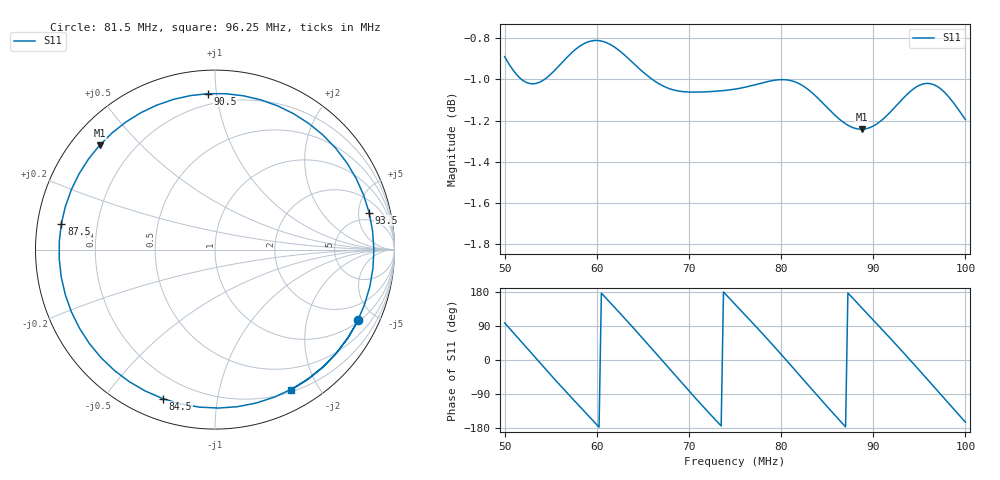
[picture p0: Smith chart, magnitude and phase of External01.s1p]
!Agilent Technologies,E5072A,MY51200456,A.01.06
!Date: Tue Sep 01 19:49:04 2015
!Data & Calibration Information:
!Freq	S11:SOLT1(ON)
!PortZ  Port1:50+j0
!Above PortZ is port z conversion or system Z0 setting when saving the data.
!When reading, reference impedance value at option line is always used.
# Hz S dB R 50
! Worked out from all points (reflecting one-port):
!   201 points, 50 MHz to 100 MHz, reference 50 ohm
!   lowest |S11| = -1.2 dB at 88.75 MHz (marker M1), VSWR 14.01, Z = 4.1 + j19.2 ohm
!   phase of S11 starts at 98 deg and turns -1342 deg over the sweep
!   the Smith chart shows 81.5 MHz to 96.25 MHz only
!   S11 on the Smith chart (normalised r, x): 81.5 MHz: 1.06, -4.03; 84.5 MHz: 0.10, -0.70; 87.5 MHz: 0.07, +0.08; 90.5 MHz: 0.13, +0.95; 93.5 MHz: 3.54, +6.61; 96.25 MHz: 0.22, -1.66
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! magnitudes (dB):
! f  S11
! 50 MHz  -0.9
! 51.5 MHz  -1.0
! 53 MHz  -1.0
! 54.5 MHz  -1.0
! 56.25 MHz  -0.9
! 58 MHz  -0.8
! 59.5 MHz  -0.8
! 61 MHz  -0.8
! 62.5 MHz  -0.9
! 66.25 MHz  -1.0
! 68.75 MHz  -1.1
! 71.25 MHz  -1.1
! 75 MHz  -1.0
! 79.25 MHz  -1.0
! 81.25 MHz  -1.0
! 81.5 MHz  -1.0
! 83 MHz  -1.1
! 84.5 MHz  -1.1
! 86.25 MHz  -1.2
! 87.5 MHz  -1.2
! 88.75 MHz  -1.2
! 90.5 MHz  -1.2
! 93.5 MHz  -1.1
! 93.75 MHz  -1.1
! 95 MHz  -1.0
! 96.25 MHz  -1.0
! 97.75 MHz  -1.1
! 100 MHz  -1.2
